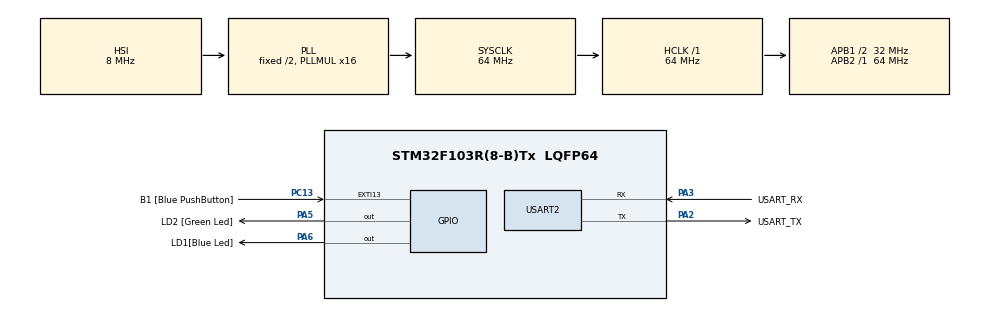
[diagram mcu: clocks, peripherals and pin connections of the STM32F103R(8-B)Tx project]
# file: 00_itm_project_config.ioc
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FREERTOS.Tasks01=defaultTask,24,128,StartDefaultTask,Default,NULL,Dynamic,NULL,NULL
FREERTOS.configUSE_NEWLIB_REENTRANT=1
Mcu.Family=STM32F1
Mcu.Name=STM32F103R(8-B)Tx
Mcu.Package=LQFP64
NVIC.EXTI15_10_IRQn=true\:5\:0\:false\:false\:true\:true\:true\:true\:true
NVIC.PriorityGroup=NVIC_PRIORITYGROUP_4
NVIC.TIM1_UP_IRQn=true\:15\:0\:false\:false\:true\:false\:false\:true\:true
NVIC.TimeBase=TIM1_UP_IRQn
NVIC.TimeBaseIP=TIM1
PA13.GPIO_Label=TMS
PA13.Mode=JTAG_4_pins
PA13.Signal=SYS_JTMS-SWDIO
PA14.GPIO_Label=TCK
PA14.Mode=JTAG_4_pins
PA14.Signal=SYS_JTCK-SWCLK
PA15.Mode=JTAG_4_pins
PA15.Signal=SYS_JTDI
PA2.GPIO_Label=USART_TX
PA2.GPIO_Mode=GPIO_MODE_AF_PP
PA2.GPIO_PuPd=GPIO_NOPULL
PA2.GPIO_Speed=GPIO_SPEED_FREQ_LOW
PA2.Mode=Asynchronous
PA2.Signal=USART2_TX
PA3.GPIO_Label=USART_RX
PA3.GPIO_Mode=GPIO_MODE_AF_PP
PA3.GPIO_PuPd=GPIO_NOPULL
PA3.GPIO_Speed=GPIO_SPEED_FREQ_LOW
PA3.Mode=Asynchronous
PA3.Signal=USART2_RX
PA5.GPIO_Label=LD2 [Green Led]
PA5.GPIO_ModeDefaultOutputPP=GPIO_MODE_OUTPUT_PP
PA5.GPIO_PuPd=GPIO_NOPULL
PA5.GPIO_Speed=GPIO_SPEED_FREQ_LOW
PA5.Signal=GPIO_Output
PA6.GPIO_Label=LD1[Blue Led]
PA6.Signal=GPIO_Output
PB3.GPIO_Label=SWO
PB3.Mode=JTAG_4_pins
PB3.Signal=SYS_JTDO-TRACESWO
PC13-TAMPER-RTC.GPIO_Label=B1 [Blue PushButton]
PC13-TAMPER-RTC.GPIO_PuPd=GPIO_NOPULL
PC13-TAMPER-RTC.Signal=GPXTI13
PC14-OSC32_IN.Mode=LSE-External-Oscillator
PC14-OSC32_IN.Signal=RCC_OSC32_IN
PC15-OSC32_OUT.Mode=LSE-External-Oscillator
PC15-OSC32_OUT.Signal=RCC_OSC32_OUT
PD0-OSC_IN.Mode=HSE-External-Clock-Source
PD0-OSC_IN.Signal=RCC_OSC_IN
PD1-OSC_OUT.Mode=HSE-External-Clock-Source
PD1-OSC_OUT.Signal=RCC_OSC_OUT
ProjectManager.HeapSize=0x200
ProjectManager.StackSize=0x400
ProjectManager.TargetToolchain=STM32CubeIDE
RCC.AHBFreq_Value=64000000
RCC.APB1CLKDivider=RCC_HCLK_DIV2
RCC.APB1Freq_Value=32000000
RCC.APB1TimFreq_Value=64000000
RCC.APB2Freq_Value=64000000
RCC.APB2TimFreq_Value=64000000
RCC.HCLKFreq_Value=64000000
RCC.PLLMUL=RCC_PLL_MUL16
RCC.RTCClockSelection=RCC_RTCCLKSOURCE_LSE
RCC.SYSCLKFreq_VALUE=64000000
RCC.SYSCLKSource=RCC_SYSCLKSOURCE_PLLCLK
RCC.USBFreq_Value=64000000
USART2.VirtualMode=VM_ASYNC
VP_FREERTOS_VS_CMSIS_V2.Mode=CMSIS_V2
VP_SYS_VS_tim1.Mode=TIM1
board=NUCLEO-F103RB

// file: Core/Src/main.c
/* USER CODE BEGIN Header */
/**
  ******************************************************************************
  * @file           : main.c
  * @brief          : Main program body
  ******************************************************************************
  * @attention
  *
  * Copyright (c) 2023 STMicroelectronics.
  * All rights reserved.
  *
  * This software is licensed under terms that can be found in the LICENSE file
  * in the root directory of this software component.
  * If no LICENSE file comes with this software, it is provided AS-IS.
  *
  ******************************************************************************
  */
/* USER CODE END Header */
#include "main.h"
#include "stdio.h"
#include "cmsis_os.h"
#include "usart.h"
#include "gpio.h"
#include "log.h"
#include "itm.h"
#include "rtt.h"

void SystemClock_Config(void);
void MX_FREERTOS_Init(void);

/* USER CODE BEGIN 0 */

void print_startup_msg(void)
{
	log_message(LOG_LEVEL_INFO,"************************************\r\n");
	log_message(LOG_LEVEL_INFO,"***** %s - %s ****/\r\n", __DATE__, __TIME__);
	log_message(LOG_LEVEL_INFO,"***** Author : Bayron Cabrera ******\r\n");
	log_message(LOG_LEVEL_INFO,"************************************\r\n");
}

int uart_write(char *ptr, int len)
{
  HAL_UART_Transmit(&huart2, (uint8_t*)ptr, len, HAL_MAX_DELAY);
  return len;
}

/* USER CODE END 0 */

int main(void)
{

  /* MCU Configuration--------------------------------------------------------*/

  /* Reset of all peripherals, Initializes the Flash interface and the Systick. */
  HAL_Init();

  /* Configure the system clock */
  SystemClock_Config();

  /* Initialize all configured peripherals */
  MX_GPIO_Init();
  MX_USART2_UART_Init();

  /* USER CODE BEGIN 2 */
  rtt_init();
  log_init(LOG_LEVEL_TRACE, &rtt_write);
  // log_init(LOG_LEVEL_TRACE, &itm_write_ch0);
  // log_init(LOG_LEVEL_TRACE, &uart_write);
  print_startup_msg();
  log_demo();
  /* USER CODE END 2 */

  /* Init scheduler */
  osKernelInitialize();  /* Call init function for freertos objects (in freertos.c) */
  MX_FREERTOS_Init();

  /* Start scheduler */
  osKernelStart();

  /* We should never get here as control is now taken by the scheduler */
  /* Infinite loop */
  while (1)
  {

  }
}

void SystemClock_Config(void)
{
  RCC_OscInitTypeDef RCC_OscInitStruct = {0};
  RCC_ClkInitTypeDef RCC_ClkInitStruct = {0};

  /** Initializes the RCC Oscillators according to the specified parameters
  * in the RCC_OscInitTypeDef structure.
  */
  RCC_OscInitStruct.OscillatorType = RCC_OSCILLATORTYPE_HSI;
  RCC_OscInitStruct.HSIState = RCC_HSI_ON;
  RCC_OscInitStruct.HSICalibrationValue = RCC_HSICALIBRATION_DEFAULT;
  RCC_OscInitStruct.PLL.PLLState = RCC_PLL_ON;
  RCC_OscInitStruct.PLL.PLLSource = RCC_PLLSOURCE_HSI_DIV2;
  RCC_OscInitStruct.PLL.PLLMUL = RCC_PLL_MUL16;
  if (HAL_RCC_OscConfig(&RCC_OscInitStruct) != HAL_OK)
  {
    Error_Handler();
  }

  /** Initializes the CPU, AHB and APB buses clocks
  */
  RCC_ClkInitStruct.ClockType = RCC_CLOCKTYPE_HCLK|RCC_CLOCKTYPE_SYSCLK
                              |RCC_CLOCKTYPE_PCLK1|RCC_CLOCKTYPE_PCLK2;
  RCC_ClkInitStruct.SYSCLKSource = RCC_SYSCLKSOURCE_PLLCLK;
  RCC_ClkInitStruct.AHBCLKDivider = RCC_SYSCLK_DIV1;
  RCC_ClkInitStruct.APB1CLKDivider = RCC_HCLK_DIV2;
  RCC_ClkInitStruct.APB2CLKDivider = RCC_HCLK_DIV1;

  if (HAL_RCC_ClockConfig(&RCC_ClkInitStruct, FLASH_LATENCY_2) != HAL_OK)
  {
    Error_Handler();
  }
}

void HAL_TIM_PeriodElapsedCallback(TIM_HandleTypeDef *htim)
{
  if (htim->Instance == TIM1) {
    HAL_IncTick();
  }
}

void Error_Handler(void)
{
  __disable_irq();
  while (1)
  {
  }
}

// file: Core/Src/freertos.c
/* USER CODE BEGIN Header */
/**
  ******************************************************************************
  * File Name          : freertos.c
  * Description        : Code for freertos applications
  ******************************************************************************
  * @attention
  *
  * Copyright (c) 2023 STMicroelectronics.
  * All rights reserved.
  *
  * This software is licensed under terms that can be found in the LICENSE file
  * in the root directory of this software component.
  * If no LICENSE file comes with this software, it is provided AS-IS.
  *
  ******************************************************************************
  */
/* USER CODE END Header */

#include "FreeRTOS.h"
#include "task.h"
#include "main.h"
#include "cmsis_os.h"
#include "log.h"
#include "rtt.h"

/* Definitions for defaultTask */
osThreadId_t defaultTaskHandle;
const osThreadAttr_t defaultTask_attributes = {
  .name = "defaultTask",
  .stack_size = 128 * 4,
  .priority = (osPriority_t) osPriorityNormal,
};
uint8_t counter = 0;
uint8_t rx_data[100];

/* USER CODE BEGIN FunctionPrototypes */
void blink_led_non_blocking(void)
{
    HAL_GPIO_TogglePin(LD2_GPIO_Port, LD2_Pin);
    log_message(LOG_LEVEL_INFO, "Led2 toggle! -> [%d]\r\n", counter++);

    int data_len = rtt_get_data_len();
    if(data_len) {
      log_message(LOG_LEVEL_INFO, "data available [%d]\r\n", data_len);
      data_len = rtt_read((char*)rx_data, 100);
      log_message(LOG_LEVEL_INFO, "bytes read [%d]\r\n", data_len);

      for (size_t i = 0; i < data_len; i++)
        log_message(LOG_LEVEL_TRACE, "[%c]\r\n", rx_data[i]);
    }

    osDelay(1000);
}

/* USER CODE END FunctionPrototypes */

void StartDefaultTask(void *argument);

void MX_FREERTOS_Init(void); /* (MISRA C 2004 rule 8.1) */

void MX_FREERTOS_Init(void) {

    /* Create the thread(s) */
    /* creation of defaultTask */
    defaultTaskHandle = osThreadNew(StartDefaultTask, NULL, &defaultTask_attributes);

}

void StartDefaultTask(void *argument)
{
  /* USER CODE BEGIN StartDefaultTask */
  /* Infinite loop */
  for(;;)
  {
	blink_led_non_blocking();
  }
  /* USER CODE END StartDefaultTask */
}
